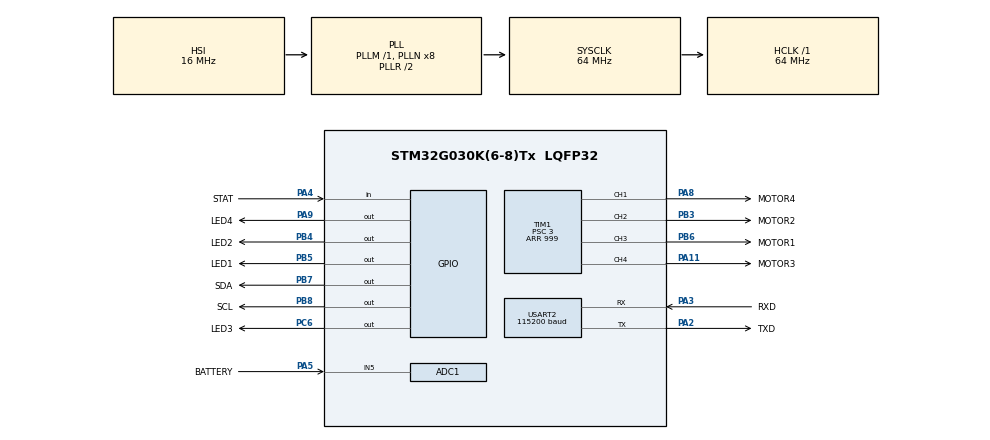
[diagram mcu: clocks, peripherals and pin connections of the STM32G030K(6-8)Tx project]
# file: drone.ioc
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ADC1.Channel-0\#ChannelRegularConversion=ADC_CHANNEL_5
ADC1.NbrOfConversionFlag=1
ADC1.Rank-0\#ChannelRegularConversion=1
ADC1.SamplingTime-0\#ChannelRegularConversion=ADC_SAMPLINGTIME_COMMON_1
ADC1.master=1
Dma.ADC1.2.Direction=DMA_PERIPH_TO_MEMORY
Dma.ADC1.2.EventEnable=DISABLE
Dma.ADC1.2.Instance=DMA1_Channel3
Dma.ADC1.2.MemDataAlignment=DMA_MDATAALIGN_HALFWORD
Dma.ADC1.2.MemInc=DMA_MINC_DISABLE
Dma.ADC1.2.Mode=DMA_NORMAL
Dma.ADC1.2.PeriphDataAlignment=DMA_PDATAALIGN_HALFWORD
Dma.ADC1.2.PeriphInc=DMA_PINC_DISABLE
Dma.ADC1.2.Polarity=HAL_DMAMUX_REQ_GEN_RISING
Dma.ADC1.2.Priority=DMA_PRIORITY_LOW
Dma.ADC1.2.RequestNumber=1
Dma.ADC1.2.SignalID=NONE
Dma.ADC1.2.SyncEnable=DISABLE
Dma.ADC1.2.SyncPolarity=HAL_DMAMUX_SYNC_NO_EVENT
Dma.ADC1.2.SyncRequestNumber=1
Dma.ADC1.2.SyncSignalID=NONE
Dma.Request0=USART2_RX
Dma.Request1=USART2_TX
Dma.Request2=ADC1
Dma.USART2_RX.0.Direction=DMA_PERIPH_TO_MEMORY
Dma.USART2_RX.0.EventEnable=DISABLE
Dma.USART2_RX.0.Instance=DMA1_Channel1
Dma.USART2_RX.0.MemDataAlignment=DMA_MDATAALIGN_BYTE
Dma.USART2_RX.0.MemInc=DMA_MINC_DISABLE
Dma.USART2_RX.0.Mode=DMA_CIRCULAR
Dma.USART2_RX.0.PeriphDataAlignment=DMA_PDATAALIGN_BYTE
Dma.USART2_RX.0.PeriphInc=DMA_PINC_DISABLE
Dma.USART2_RX.0.Polarity=HAL_DMAMUX_REQ_GEN_RISING
Dma.USART2_RX.0.Priority=DMA_PRIORITY_LOW
Dma.USART2_RX.0.RequestNumber=1
Dma.USART2_RX.0.SignalID=NONE
Dma.USART2_RX.0.SyncEnable=DISABLE
Dma.USART2_RX.0.SyncPolarity=HAL_DMAMUX_SYNC_NO_EVENT
Dma.USART2_RX.0.SyncRequestNumber=1
Dma.USART2_RX.0.SyncSignalID=NONE
Dma.USART2_TX.1.Direction=DMA_MEMORY_TO_PERIPH
Dma.USART2_TX.1.EventEnable=DISABLE
Dma.USART2_TX.1.Instance=DMA1_Channel2
Dma.USART2_TX.1.MemDataAlignment=DMA_MDATAALIGN_BYTE
Dma.USART2_TX.1.MemInc=DMA_MINC_ENABLE
Dma.USART2_TX.1.Mode=DMA_NORMAL
Dma.USART2_TX.1.PeriphDataAlignment=DMA_PDATAALIGN_BYTE
Dma.USART2_TX.1.PeriphInc=DMA_PINC_DISABLE
Dma.USART2_TX.1.Polarity=HAL_DMAMUX_REQ_GEN_RISING
Dma.USART2_TX.1.Priority=DMA_PRIORITY_LOW
Dma.USART2_TX.1.RequestNumber=1
Dma.USART2_TX.1.SignalID=NONE
Dma.USART2_TX.1.SyncEnable=DISABLE
Dma.USART2_TX.1.SyncPolarity=HAL_DMAMUX_SYNC_NO_EVENT
Dma.USART2_TX.1.SyncRequestNumber=1
Dma.USART2_TX.1.SyncSignalID=NONE
IWDG.Prescaler=IWDG_PRESCALER_4
Mcu.Family=STM32G0
Mcu.Name=STM32G030K(6-8)Tx
Mcu.Package=LQFP32
NVIC.ADC1_IRQn=true\:0\:0\:false\:false\:true\:true\:true
NVIC.DMA1_Channel1_IRQn=true\:0\:0\:false\:false\:true\:false\:true
NVIC.DMA1_Channel2_3_IRQn=true\:0\:0\:false\:false\:true\:false\:true
NVIC.TIM3_IRQn=true\:0\:0\:false\:false\:true\:true\:true
NVIC.USART2_IRQn=true\:0\:0\:false\:false\:true\:true\:true
PA11\ [PA9].GPIO_Label=MOTOR3
PA11\ [PA9].Signal=S_TIM1_CH4
PA13.Mode=Serial_Wire
PA13.Signal=SYS_SWDIO
PA14-BOOT0.Mode=Serial_Wire
PA14-BOOT0.Signal=SYS_SWCLK
PA2.GPIO_Label=TXD
PA2.Mode=Asynchronous
PA2.Signal=USART2_TX
PA3.GPIO_Label=RXD
PA3.Mode=Asynchronous
PA3.Signal=USART2_RX
PA4.GPIO_Label=STAT
PA4.GPIO_PuPd=GPIO_PULLDOWN
PA4.Signal=GPIO_Input
PA5.GPIO_Label=BATTERY
PA5.Mode=IN5
PA5.Signal=ADC1_IN5
PA8.GPIO_Label=MOTOR4
PA8.Signal=S_TIM1_CH1
PA9.GPIO_Label=LED4
PA9.GPIO_ModeDefaultOutputPP=GPIO_MODE_OUTPUT_OD
PA9.Signal=GPIO_Output
PB3.GPIO_Label=MOTOR2
PB3.Signal=S_TIM1_CH2
PB4.GPIO_Label=LED2
PB4.GPIO_ModeDefaultOutputPP=GPIO_MODE_OUTPUT_OD
PB4.Signal=GPIO_Output
PB5.GPIO_Label=LED1
PB5.GPIO_ModeDefaultOutputPP=GPIO_MODE_OUTPUT_OD
PB5.Signal=GPIO_Output
PB6.GPIO_Label=MOTOR1
PB6.Signal=S_TIM1_CH3
PB7.GPIO_Label=SDA
PB7.GPIO_ModeDefaultOutputPP=GPIO_MODE_OUTPUT_OD
PB7.Signal=GPIO_Output
PB8.GPIO_Label=SCL
PB8.GPIO_ModeDefaultOutputPP=GPIO_MODE_OUTPUT_OD
PB8.Signal=GPIO_Output
PC6.GPIO_Label=LED3
PC6.GPIO_ModeDefaultOutputPP=GPIO_MODE_OUTPUT_OD
PC6.Signal=GPIO_Output
ProjectManager.HeapSize=0x200
ProjectManager.StackSize=0x400
ProjectManager.TargetToolchain=MDK-ARM V5.27
RCC.ADCFreq_Value=64000000
RCC.AHBFreq_Value=64000000
RCC.CortexFreq_Value=64000000
RCC.EXTERNAL_CLOCK_VALUE=12288000
RCC.HCLKFreq_Value=64000000
RCC.HSE_VALUE=8000000
RCC.HSI_VALUE=16000000
RCC.LSE_VALUE=32768
RCC.SYSCLKFreq_VALUE=64000000
RCC.SYSCLKSource=RCC_SYSCLKSOURCE_PLLCLK
RCC.VCOOutputFreq_Value=128000000
SH.S_TIM1_CH1.0=TIM1_CH1,PWM Generation1 CH1
SH.S_TIM1_CH2.0=TIM1_CH2,PWM Generation2 CH2
SH.S_TIM1_CH3.0=TIM1_CH3,PWM Generation3 CH3
SH.S_TIM1_CH4.0=TIM1_CH4,PWM Generation4 CH4
TIM1.AutoReloadPreload=TIM_AUTORELOAD_PRELOAD_ENABLE
TIM1.Channel-PWM\ Generation1\ CH1=TIM_CHANNEL_1
TIM1.Channel-PWM\ Generation2\ CH2=TIM_CHANNEL_2
TIM1.Channel-PWM\ Generation3\ CH3=TIM_CHANNEL_3
TIM1.Channel-PWM\ Generation4\ CH4=TIM_CHANNEL_4
TIM1.Period=999
TIM1.Prescaler=3
TIM1.Pulse-PWM\ Generation1\ CH1=0
TIM3.AutoReloadPreload=TIM_AUTORELOAD_PRELOAD_ENABLE
TIM3.Period=1999
TIM3.Prescaler=63
USART2.BaudRate=115200
USART2.VirtualMode-Asynchronous=VM_ASYNC
VP_IWDG_VS_IWDG.Mode=IWDG_Activate
VP_TIM1_VS_ClockSourceINT.Mode=Internal
VP_TIM3_VS_ClockSourceINT.Mode=Internal
board=custom

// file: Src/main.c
/* USER CODE BEGIN Header */
/**
  ******************************************************************************
  * @file           : main.c
  * @brief          : Main program body
  ******************************************************************************
  * @attention
  *
  * <h2><center>&copy; Copyright (c) 2020 STMicroelectronics.
  * All rights reserved.</center></h2>
  *
  * This software component is licensed by ST under BSD 3-Clause license,
  * the "License"; You may not use this file except in compliance with the
  * License. You may obtain a copy of the License at:
  *                        opensource.org/licenses/BSD-3-Clause
  *
  ******************************************************************************
  */
/* USER CODE END Header */

#include "main.h"
#include "adc.h"
#include "dma.h"
#include "iwdg.h"
#include "tim.h"
#include "usart.h"
#include "gpio.h"

/* USER CODE BEGIN Includes */
#include "task.h"
/* USER CODE END Includes */

void SystemClock_Config(void);

/* USER CODE BEGIN 0 */
//定时任务的各相应标志位
#define TASK_2ms        0x01  //电机内环
#define TASK_10ms       0x02  //电机外环
#define TASK_100ms      0x04  //数据交换,锁定与解锁
#define TASK_500ms      0x08
#define TASK_1s         0x10

u8 Time2ms=0;   //每1ms增1
u8 Time500ms=0;   //每100ms增1
u8 TaskFlag=0;  //定时任务的标志位寄存器
/***********************
2.5ms中断一次
*尽量避免使每个任务的开始时刻为整数倍关系，
这样可以尽量避免同一时刻执行多个任务，保证计时准确
**********************/
void HAL_TIM_PeriodElapsedCallback(TIM_HandleTypeDef *htim)
{
	TaskFlag|=TASK_2ms;
	if(Time2ms%5==1)
		TaskFlag|=TASK_10ms;
	if(Time2ms%50==2)
		TaskFlag|=TASK_100ms;
	if(Time2ms==3)
		TaskFlag|=TASK_500ms;
	Time2ms++;
	if(Time2ms<250)
		return;
	Time2ms=0;
	Time500ms++;
	if(Time500ms&0x01)
		TaskFlag|=TASK_1s;
	if(Time500ms>=20)
		Time500ms=0;
}
/* USER CODE END 0 */

int main(void)
{

  /* MCU Configuration--------------------------------------------------------*/

  /* Reset of all peripherals, Initializes the Flash interface and the Systick. */
  HAL_Init();

  /* Configure the system clock */
  SystemClock_Config();

  /* Initialize all configured peripherals */
  MX_GPIO_Init();
  MX_DMA_Init();
  MX_TIM1_Init();
  MX_TIM3_Init();
  MX_USART2_UART_Init();
  MX_ADC1_Init();
  MX_IWDG_Init();

  /* Infinite loop */
  /* USER CODE BEGIN WHILE */
	if (HAL_TIM_PWM_Start(&htim1, TIM_CHANNEL_1) != HAL_OK)
		Error_Handler();
	if (HAL_TIM_PWM_Start(&htim1, TIM_CHANNEL_2) != HAL_OK)
		Error_Handler();
	if (HAL_TIM_PWM_Start(&htim1, TIM_CHANNEL_3) != HAL_OK)
		Error_Handler();
	if (HAL_TIM_PWM_Start(&htim1, TIM_CHANNEL_4) != HAL_OK)
		Error_Handler();
	HAL_TIM_Base_Start_IT(&htim3);
	while(MPU_Init()){};
	Protocol_Init();
	Para_Init();
	LED1_PORT|=LED1_Pin;
	LED2_PORT|=LED2_Pin;
	LED3_PORT|=LED3_Pin;
	LED4_PORT|=LED4_Pin;
  while (1)
  {
    /* USER CODE END WHILE */

    /* USER CODE BEGIN 3 */
		if(RcvCnt)
		{
			RC_Processing();
			RC_Data_Send();
			RcvCnt--;
		}
		if(TaskFlag & TASK_2ms)
		{
			IMU_Processing();
			Motor_Iner_loop();
			HighSpeed_Data_Send();
			Total_Send();
			TaskFlag&=~TASK_2ms;
		}
		if(TaskFlag & TASK_10ms)
		{
			Motor_Outer_loop();
			RC_Data_Send_10ms();
			TaskFlag&=~TASK_10ms;
		}
		if(TaskFlag & TASK_100ms)
		{
			RC_Monitor();
			HAL_IWDG_Refresh(&hiwdg);
			TaskFlag&=~TASK_100ms;
		}
		if(TaskFlag & TASK_500ms)
		{
			LED2_PORT^=LED2_Pin;
			TaskFlag&=~TASK_500ms;
		}
		if(TaskFlag & TASK_1s)
		{
			TaskFlag&=~TASK_1s;
		}
	}
  /* USER CODE END 3 */
}

void SystemClock_Config(void)
{
  RCC_OscInitTypeDef RCC_OscInitStruct = {0};
  RCC_ClkInitTypeDef RCC_ClkInitStruct = {0};
  RCC_PeriphCLKInitTypeDef PeriphClkInit = {0};

  /** Configure the main internal regulator output voltage
  */
  HAL_PWREx_ControlVoltageScaling(PWR_REGULATOR_VOLTAGE_SCALE1);
  /** Initializes the CPU, AHB and APB busses clocks
  */
  RCC_OscInitStruct.OscillatorType = RCC_OSCILLATORTYPE_HSI|RCC_OSCILLATORTYPE_LSI;
  RCC_OscInitStruct.HSIState = RCC_HSI_ON;
  RCC_OscInitStruct.HSIDiv = RCC_HSI_DIV1;
  RCC_OscInitStruct.HSICalibrationValue = RCC_HSICALIBRATION_DEFAULT;
  RCC_OscInitStruct.LSIState = RCC_LSI_ON;
  RCC_OscInitStruct.PLL.PLLState = RCC_PLL_ON;
  RCC_OscInitStruct.PLL.PLLSource = RCC_PLLSOURCE_HSI;
  RCC_OscInitStruct.PLL.PLLM = RCC_PLLM_DIV1;
  RCC_OscInitStruct.PLL.PLLN = 8;
  RCC_OscInitStruct.PLL.PLLP = RCC_PLLP_DIV2;
  RCC_OscInitStruct.PLL.PLLR = RCC_PLLR_DIV2;
  if (HAL_RCC_OscConfig(&RCC_OscInitStruct) != HAL_OK)
  {
    Error_Handler();
  }
  /** Initializes the CPU, AHB and APB busses clocks
  */
  RCC_ClkInitStruct.ClockType = RCC_CLOCKTYPE_HCLK|RCC_CLOCKTYPE_SYSCLK
                              |RCC_CLOCKTYPE_PCLK1;
  RCC_ClkInitStruct.SYSCLKSource = RCC_SYSCLKSOURCE_PLLCLK;
  RCC_ClkInitStruct.AHBCLKDivider = RCC_SYSCLK_DIV1;
  RCC_ClkInitStruct.APB1CLKDivider = RCC_HCLK_DIV1;

  if (HAL_RCC_ClockConfig(&RCC_ClkInitStruct, FLASH_LATENCY_2) != HAL_OK)
  {
    Error_Handler();
  }
  /** Initializes the peripherals clocks
  */
  PeriphClkInit.PeriphClockSelection = RCC_PERIPHCLK_ADC;
  PeriphClkInit.AdcClockSelection = RCC_ADCCLKSOURCE_SYSCLK;
  if (HAL_RCCEx_PeriphCLKConfig(&PeriphClkInit) != HAL_OK)
  {
    Error_Handler();
  }
}

void Error_Handler(void)
{
}

/************************ (C) COPYRIGHT STMicroelectronics *****END OF FILE****/
